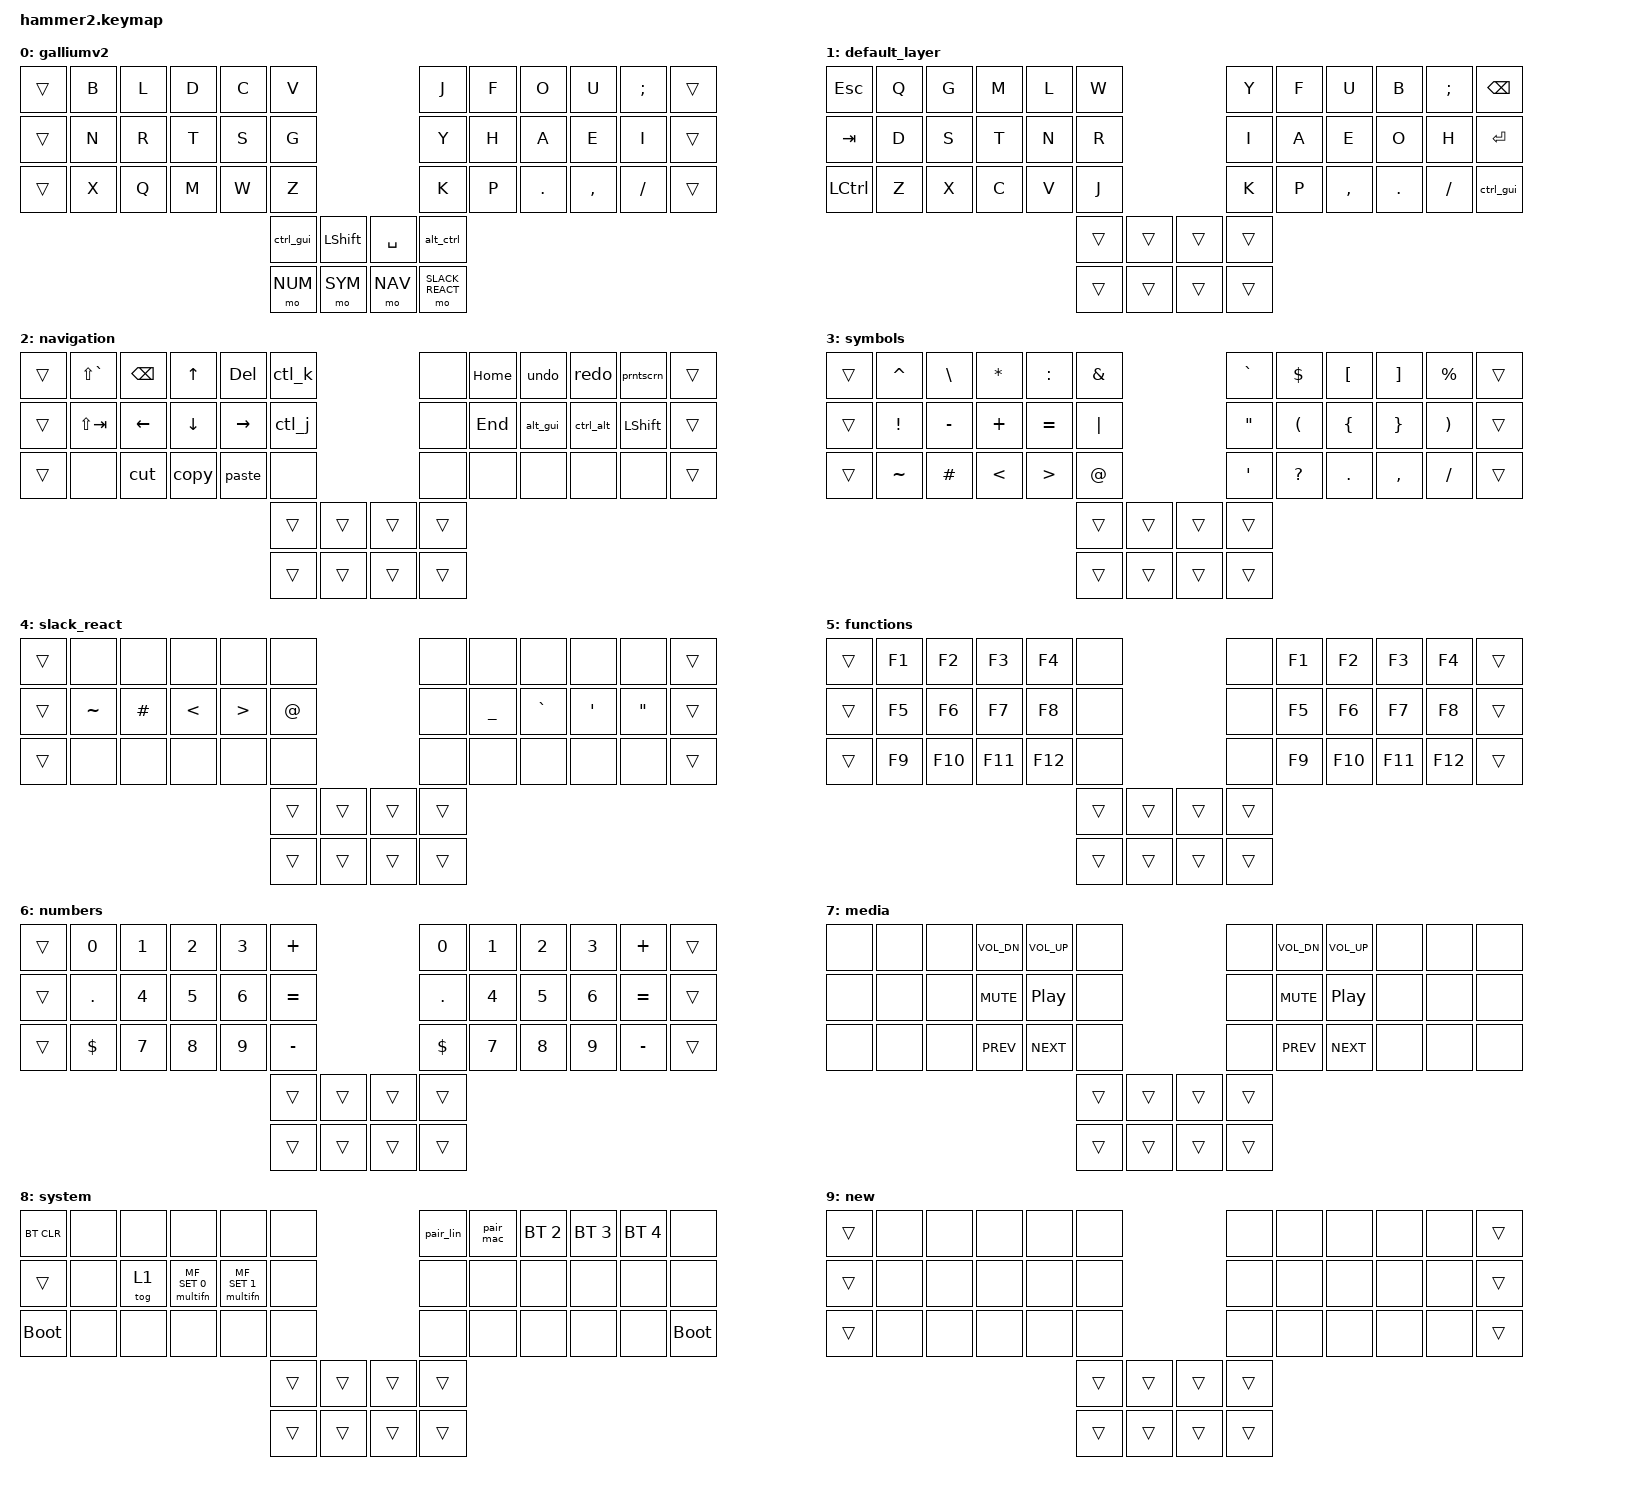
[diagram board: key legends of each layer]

#include <behaviors.dtsi>
#include <dt-bindings/zmk/keys.h>
#include <dt-bindings/zmk/bt.h>
#include <dt-bindings/zmk/multi_function.h>
#include <dt-bindings/zmk/reset.h>
#include <dt-bindings/zmk/ext_power.h>  

#define RIGHT_HAND_KEYS <6 7 8 9 10 11 18 19 20 21 22 23 30 31 32 33 34 35>
#define LEFT_HAND_KEYS <0 1 2 3 4 5 12 13 14 15 16 17 24 25 26 27 28 29>
#define HRM_TAPPING_TERM_MS 200
#define HRM_QUICK_TAP_MS 150

//Layers
#define NAV 2
#define SYM 3
#define SLACK_REACT 4
#define FUN 5
#define NUM 6
#define MEDIA 7
#define SYSTEM 8

/*
Thumb Key Guide

LTHUMB            RTHUMB
┌───┬───┐      ┌───┬───┐
│ 0 │ 1 │      │ 1 │ 0 │
├───┼───┤      ├───┼───┤
│ 2 │ 3 │      │ 3 │ 2 │
└───┴───┘      └───┴───┘
*/
#define LTHUMB0 36
#define LTHUMB1 37
#define RTHUMB1 38
#define RTHUMB0 39
#define LTHUMB2 40
#define LTHUMB3 41
#define RTHUMB3 42
#define RTHUMB2 43


/ {
     macros {
        pair_mac: pair_mac {
            compatible = "zmk,behavior-macro";
            #binding-cells = <0>;
            bindings = <&bt BT_SEL 1>, <&multifn MF_SET 1>;
        };
        pair_lin: pair_lin {
            compatible = "zmk,behavior-macro";
            #binding-cells = <0>;
            bindings = <&bt BT_SEL 0>, <&multifn MF_SET 0>;
        };

        ac_config: ac_config {
            compatible = "zmk,behavior-macro";
            #binding-cells = <0>;
            bindings = <&kp O &kp N &kp F &kp I &kp G &kp U &kp R &kp A &kp T &kp I &kp O &kp N>;
        };
        ac_query: ac_query {
            compatible = "zmk,behavior-macro";
            #binding-cells = <0>;
            bindings = <&kp U &kp E &kp R &kp Y>;
        };
        ac_object: ac_object {
            compatible = "zmk,behavior-macro";
            #binding-cells = <0>;
            bindings = <&kp B &kp J &kp E &kp C &kp T>;
        };
        ac_which: ac_which {
            compatible = "zmk,behavior-macro";
            #binding-cells = <0>;
            bindings = <&kp H &kp I &kp C &kp H>;
        };
    };

    behaviors {
        ctrl_gui: multi_function_ctrl_gui {
            compatible = "zmk,behavior-multi-function";
            #binding-cells = <0>;
            bindings = <&kp LCTL>, <&kp LGUI>;
        };
        ctrl_alt: multi_function_ctrl_alt {
            compatible = "zmk,behavior-multi-function";
            #binding-cells = <0>;
            bindings = <&kp LCTL>, <&kp LALT>;
        };
        alt_ctrl: multi_function_alt_ctrl {
            compatible = "zmk,behavior-multi-function";
            #binding-cells = <0>;
            bindings = <&kp LALT>, <&kp LCTL>;
        };
        alt_gui: multi_function_alt_gui {
            compatible = "zmk,behavior-multi-function";
            #binding-cells = <0>;
            bindings = <&kp LALT>, <&kp LGUI>;
        };
        gui_alt: multi_function_gui_alt {
            compatible = "zmk,behavior-multi-function";
            #binding-cells = <0>;
            bindings = <&kp LGUI>, <&kp LALT>;
        };


        ctl_k: multi_function_ctl_k {
            compatible = "zmk,behavior-multi-function";
            #binding-cells = <0>;
            bindings = <&kp LC(K)>, <&kp LA(K)>;
        };
        ctl_j: multi_function_ctl_j {
            compatible = "zmk,behavior-multi-function";
            #binding-cells = <0>;
            bindings = <&kp LC(J)>, <&kp LA(J)>;
        };
        undo: multi_function_undo {
            compatible = "zmk,behavior-multi-function";
            #binding-cells = <0>;
            bindings = <&kp LC(Z)>, <&kp LG(Z)>;
        };
        redo: multi_function_redo {
            compatible = "zmk,behavior-multi-function";
            #binding-cells = <0>;
            bindings = <&kp LC(Y)>, <&kp LG(Y)>;
        };
        cut: multi_function_cut {
            compatible = "zmk,behavior-multi-function";
            #binding-cells = <0>;
            bindings = <&kp LC(X)>, <&kp LG(X)>;
        };
        copy: multi_function_copy {
            compatible = "zmk,behavior-multi-function";
            #binding-cells = <0>;
            bindings = <&kp LC(C)>, <&kp LG(C)>;
        };
        paste: multi_function_paste {
            compatible = "zmk,behavior-multi-function";
            #binding-cells = <0>;
            bindings = <&kp LC(V)>, <&kp LG(V)>;
        };
        prntscrn: multi_function_print_screen {
            compatible = "zmk,behavior-multi-function";
            #binding-cells = <0>;
            bindings = <&kp PSCRN>, <&kp LC(LG(LS(N4)))>;
        };

        // magic: magic_key {
        //     compatible = "zmk,behavior-antecedent-morph";
        //     #binding-cells = <0>;
        //     defaults = <&kp R>;
        //     antecedents = <B L D C V N R T S G X Q M W Z J F O U Y H A E I K P>;
        //     bindings = 
        //                /*B*/<&kp R>,//
        //                /*L*/<&kp W>,//
        //                /*D*/<&kp G>,//
        //                /*C*/<&kp C>,//ac_config>,//
        //                /*V*/<&kp S>,//

        //                /*N*/<&kp G>,//
        //                /*R*/<&kp L>,//
        //                /*T*/<&kp T>,//
        //                /*S*/<&kp C>,//
        //                /*G*/<&kp N>,// alt: R


        //                /*X*/<&kp C>,//
        //                /*Q*/<&kp U>,//ac_query>,//alt: U, L
        //                /*M*/<&kp T>,//
        //                /*W*/<&kp W>,//ac_which>,//
        //                /*Z*/<&kp S>,//alt: L

        //                /*J*/<&kp I>,//alt: U
        //                /*F*/<&kp Y>,//alt: I
        //                /*O*/<&kp O>,//ac_object>,//
        //                /*U*/<&kp E>,//

        //                /*Y*/<&kp P>,//alt: I
        //                /*H*/<&kp Y>,//
        //                /*A*/<&kp O>,//
        //                /*E*/<&kp Y>,//alt: P
        //                /*I*/<&kp F>,//alt: P

        //                /*P*/<&kp H>,//
        //                /*K*/<&kp Y>//
        //                ;
        //     max-delay-ms = <250>;
        // };
    };

    combos {
        /*
        Thumb Key Guide
        
        LTHUMB            RTHUMB
        ┌───┬───┐      ┌───┬───┐
        │ 0 │ 1 │      │ 1 │ 0 │
        ├───┼───┤      ├───┼───┤
        │ 2 │ 3 │      │ 3 │ 2 │
        └───┴───┘      └───┴───┘
        */
        compatible = "zmk,combos";
        combo_functions_l {
            /*
            ┌───┬───┐      ┌───┬───┐
            │ X │   │      │   │   │
            ├───┼───┤      ├───┼───┤
            │ X │   │      │   │   │
            └───┴───┘      └───┴───┘
            */
            timeout-ms = <150>;
            key-positions = <LTHUMB0 LTHUMB2>;
            bindings = <&sl FUN>;
        };
        combo_functions_r {
            /*
            ┌───┬───┐      ┌───┬───┐
            │   │   │      │   │ X │
            ├───┼───┤      ├───┼───┤
            │   │   │      │   │ X │
            └───┴───┘      └───┴───┘
            */
            timeout-ms = <150>;
            key-positions = <RTHUMB0 RTHUMB2>;
            bindings = <&sl FUN>;
        };
        combo_media_r {
            /*
            ┌───┬───┐      ┌───┬───┐
            │   │   │      │   │   │
            ├───┼───┤      ├───┼───┤
            │   │   │      │ x │ x │
            └───┴───┘      └───┴───┘
            */
            timeout-ms = <100>;
            key-positions = <RTHUMB2 RTHUMB3>;
            bindings = <&mo MEDIA>;
        };
        combo_media_l {
            /*
            ┌───┬───┐      ┌───┬───┐
            │   │   │      │   │   │
            ├───┼───┤      ├───┼───┤
            │ x │ x │      │   │   │
            └───┴───┘      └───┴───┘
            */
            timeout-ms = <100>;
            key-positions = <LTHUMB2 LTHUMB3>;
            bindings = <&mo MEDIA>;
        };
        combo_system {
            /*
            ┌───┬───┐      ┌───┬───┐
            │ x │   │      │   │ x │
            ├───┼───┤      ├───┼───┤
            │ x │   │      │   │ x │
            └───┴───┘      └───┴───┘
            */
            timeout-ms = <150>;
            key-positions = <LTHUMB2 LTHUMB0 RTHUMB2 RTHUMB0>;
            bindings = <&sl SYSTEM>;
        };
    };

    keymap {
        compatible = "zmk,keymap";

         galliumv2 {
/*  QGMLWY
    Left Hand                                                     Right Hand
    ┌────────┬────────┬─────────┬────────┬────────┬────────┐      ┌────────┬────────┬────────┬────────┬────────┬────────┐
    │  ESC   │    B   │   L     │   D    │   C    │   V    │      │    J   │   F    │    O   │    U   │   ;    │ BKSPC  │
    ├────────┼────────┼─────────┼────────┼────────┼────────┤      ├────────┼────────┼────────┼────────┼────────┼────────┤
    │  TAB   │    N   │   R     │   T    │   S    │   G    │      │    Y   │   H    │    A   │    E   │   I    │ ENTER  │
    ├────────┼────────┼─────────┼────────┼────────┼────────┤      ├────────┼────────┼────────┼────────┼────────┼────────┤
    │Ctrl/Cmd│    X   │   Q     │   M    │   W    │   Z    │      │    K   │   P    │    .   │    ,   │   / ?  │Ctrl/Cmd│
    └────────┴────────┴─────────┴────────┴────────┴────────┘      └────────┴────────┴────────┴────────┴────────┴────────┘

 */
                        bindings = <
&trans   &kp B  &kp L  &kp D  &kp C   &kp V                                             &kp J  &kp F   &kp O    &kp U      &kp SEMI   &trans
&trans   &kp N  &kp R  &kp T  &kp S   &kp G                                             &kp Y  &kp H   &kp A    &kp E      &kp I      &trans
&trans   &kp X  &kp Q  &kp M  &kp W   &kp Z                                             &kp K  &kp P   &kp DOT  &kp COMMA  &kp SLASH  &trans
                                            &ctrl_gui &kp LSHIFT  &kp SPACE  &alt_ctrl
                                            &mo NUM   &mo SYM     &mo NAV    &mo SLACK_REACT
            >;
        };
        
         default_layer {
/*  QGMLWY
    Left Hand                                                     Right Hand
    ┌────────┬────────┬─────────┬────────┬────────┬────────┐      ┌────────┬────────┬────────┬────────┬────────┬────────┐
    │  ESC   │    Q   │   G     │   M    │   L    │   W    │      │    Y   │   F    │   U    │    B   │   ;    │ BKSPC  │
    ├────────┼────────┼─────────┼────────┼────────┼────────┤      ├────────┼────────┼────────┼────────┼────────┼────────┤
    │  TAB   │    D   │   S     │   T    │   N    │   R    │      │    I   │   A    │   E    │    O   │   H    │ ENTER  │
    ├────────┼────────┼─────────┼────────┼────────┼────────┤      ├────────┼────────┼────────┼────────┼────────┼────────┤
    │Ctrl/Cmd│    Z   │   X     │   C    │   V    │   J    │      │    K   │   P    │   , <  │  . >   │   / ?  │Ctrl/Cmd│
    └────────┴────────┴─────────┴────────┴────────┴────────┘      └────────┴────────┴────────┴────────┴────────┴────────┘

 */
                        bindings = <
&kp  ESC  &kp Q  &kp G  &kp M  &kp L  &kp W                                           &kp Y  &kp F  &kp U      &kp B    &kp SEMI   &kp BSPC
&kp  TAB  &kp D  &kp S  &kp T  &kp N  &kp R                                           &kp I  &kp A  &kp E      &kp O    &kp H      &kp ENTER
&kp LCTL  &kp Z  &kp X  &kp C  &kp V  &kp J                                           &kp K  &kp P  &kp COMMA  &kp DOT  &kp SLASH  &ctrl_gui
                                            &trans     &trans        &trans     &trans
                                            &trans     &trans        &trans     &trans
            >;
        };

        navigation {
/*
/* Navigation
    ┌────────┬─────────┬─────────┬─────────┬─────────┬─────────┐      ┌────────┬─────────┬─────────┬─────────┬─────────┬────────┐
    │        │ shift+` │backspace│   UP    │   DEL   │ctl/alt+K│      │        │   HOME  │   undo  │   redo  │scrnshot │        │
    ├────────┼─────────┼─────────┼─────────┼─────────┼─────────┤      ├────────┼─────────┼─────────┼─────────┼─────────┼────────┤
    │        |shift+tab│   left  │  down   │  right  │ctl/alt+J│      │        │   END   │ alt/cmd │ctrl/alt │  shift  │        │
    ├────────┼─────────┼─────────┼─────────┼─────────┼─────────┤      ├────────┼─────────┼─────────┼─────────┼─────────┼────────┤
    │        │         │   CUT   │  COPY   │  PASTE  │         │      │        │         │         │         │         │        │
    └────────┴─────────┴─────────┴─────────┴─────────┴─────────┘      └────────┴─────────┴─────────┴─────────┴─────────┴────────┘

 */
                        bindings = <
&trans   &kp LS(GRAVE)  &kp BSPC     &kp UP     &kp DEL    &ctl_k                                         &none   &kp HOME &undo      &redo      &prntscrn  &trans
&trans   &kp  LS(TAB)   &kp LEFT     &kp DOWN   &kp RIGHT  &ctl_j                                         &none   &kp END  &alt_gui   &ctrl_alt  &kp LSHIFT &trans
&trans   &none          &cut         &copy      &paste     &none                                          &none   &none    &none      &none      &none      &trans
                                                                    &trans  &trans        &trans  &trans
                                                                    &trans  &trans        &trans  &trans
            >;
        };



        symbols {
/*
    Left Hand                                                     Right Hand
    ┌────────┬────────┬─────────┬────────┬────────┬────────┐      ┌────────┬────────┬────────┬────────┬────────┬────────┐
    │        │    ^   │   \     │   *    │   :    │   &    │      │    `   │   $    │   [    │    ]   │   %    │        │
    ├────────┼────────┼─────────┼────────┼────────┼────────┤      ├────────┼────────┼────────┼────────┼────────┼────────┤
    │        │    !   │   -     │   +    │   =    │   |    │      │    "   │   (    │   {    │    }   │   )    │        │
    ├────────┼────────┼─────────┼────────┼────────┼────────┤      ├────────┼────────┼────────┼────────┼────────┼────────┤
    │        │    ~   │   #     │   <    │   >    │   @    │      │    '   │   ?    │    .   │    ,   │   /    │        │
    └────────┴────────┴─────────┴────────┴────────┴────────┘      └────────┴────────┴────────┴────────┴────────┴────────┘
 */
                        bindings = <
&trans         &kp CARET  &kp BSLH   &kp ASTRK  &kp COLON  &kp AMPS                                      &kp GRAVE  &kp DOLLAR  &kp LBKT  &kp RBKT   &kp PERCENT   &trans
&trans         &kp EXCL   &kp MINUS  &kp PLUS   &kp EQUAL  &kp PIPE                                      &kp DQT    &kp LPAR    &kp LBRC  &kp RBRC   &kp RPAR      &trans
&trans         &kp TILDE  &kp POUND  &kp LT     &kp GT     &kp AT                                        &kp QUOT   &kp QMARK   &kp DOT   &kp COMMA  &kp SLASH     &trans
                                                                     &trans  &trans     &trans  &trans
                                                                     &trans  &trans     &trans  &trans
            >;
        };

        slack_react {
/*
    Left Hand                                                     Right Hand
    ┌────────┬────────┬─────────┬────────┬────────┬────────┐      ┌────────┬────────┬────────┬────────┬────────┬────────┐
    │        │        │         │        │        │        │      │        │        │        │        │        │        │
    ├────────┼────────┼─────────┼────────┼────────┼────────┤      ├────────┼────────┼────────┼────────┼────────┼────────┤
    │        │    ~   │    #    │    <   │    >   │   @    │      │        │   _    │   `    │    '   │   "    │        │
    ├────────┼────────┼─────────┼────────┼────────┼────────┤      ├────────┼────────┼────────┼────────┼────────┼────────┤
    │        │        │         │        │        │        │      │        │        │        │        │        │        │
    └────────┴────────┴─────────┴────────┴────────┴────────┘      └────────┴────────┴────────┴────────┴────────┴────────┘
 */
                        bindings = <
&trans         &none       &none      &none      &none     &none                                    &none  &none       &none     &none      &none     &trans
&trans         &kp TILDE   &kp POUND  &kp LT     &kp GT    &kp AT                                   &none  &kp UNDER   &kp GRAVE &kp QUOT   &kp DQT   &trans
&trans         &none       &none      &none      &none     &none                                    &none  &none       &none     &none      &none     &trans
                                                                   &trans  &trans      &trans  &trans
                                                                   &trans  &trans      &trans  &trans
            >;
        };

        functions {
/*
    Left Hand                                                     Right Hand
    ┌────────┬────────┬────────┬────────┬────────┬────────┐      ┌────────┬────────┬────────┬────────┬────────┬────────┐
    │        │   F1   │   F2   │   F3   │   F4   │ XXXXXX │      │ XXXXXX │   F1   │   F2   │   F3   │   F4   │        │
    ├────────┼────────┼────────┼────────┼────────┼────────┤      ├────────┼────────┼────────┼────────┼────────┼────────┤
    │        │   F5   │   F6   │   F7   │   F8   │ XXXXXX │      │ XXXXXX │   F5   │   F6   │   F7   │   F8   │        │
    ├────────┼────────┼────────┼────────┼────────┼────────┤      ├────────┼────────┼────────┼────────┼────────┼────────┤
    │        │   F9   │   F10  │   F11  │   F12  │ XXXXXX │      │ XXXXXX │   F9   │   F10  │   F11  │   F12  │        │
    └────────┴────────┴────────┴────────┴────────┴────────┘      └────────┴────────┴────────┴────────┴────────┴────────┘
 */
                        bindings = <
&trans    &kp F1   &kp F2    &kp F3   &kp F4   &none                                          &none        &kp F1  &kp F2   &kp F3    &kp F4   &trans
&trans    &kp F5   &kp F6    &kp F7   &kp F8   &none                                          &none        &kp F5  &kp F6   &kp F7    &kp F8   &trans
&trans    &kp F9   &kp F10   &kp F11  &kp F12  &none                                          &none        &kp F9  &kp F10  &kp F11   &kp F12  &trans
                                                     &trans  &trans            &trans  &trans
                                                     &trans  &trans            &trans  &trans
            >;
        };

        numbers {
/*
    Left Hand                                                     Right Hand
    ┌────────┬────────┬─────────┬────────┬────────┬────────┐      ┌────────┬────────┬────────┬────────┬────────┬────────┐
    │        │    0   │    1    │   2    │    3   │   +    │      │   0    │   1    │   2    │   3    │   +    │        │
    ├────────┼────────┼─────────┼────────┼────────┼────────┤      ├────────┼────────┼────────┼────────┼────────┤────────┤
    │        │    .   │    4    │   5    │    6   │   =    │      │   .    │   4    │   5    │   6    │   =    │        │
    ├────────┼────────┼─────────┼────────┼────────┼────────┤      ├────────┼────────┼────────┼────────┼────────┤────────┤
    │        │    $   │    7    │   8    │    9   │   -    │      │   $    │   7    │   8    │   9    │   -    │        │
    └────────┴────────┴─────────┴────────┴────────┴────────┘      └────────┴────────┴────────┴────────┴────────┴────────┘

 */
                        bindings = <
&trans        &kp N0      &kp  N1  &kp N2  &kp N3  &kp PLUS                                  &kp N0      &kp N1  &kp N2  &kp N3  &kp PLUS   &trans
&trans        &kp DOT     &kp  N4  &kp N5  &kp N6  &kp EQUAL                                 &kp DOT     &kp N4  &kp N5  &kp N6  &kp EQUAL  &trans
&trans        &kp DOLLAR  &kp  N7  &kp N8  &kp N9  &kp MINUS                                 &kp DOLLAR  &kp N7  &kp N8  &kp N9  &kp MINUS  &trans
                                                             &trans  &trans   &trans  &trans
                                                             &trans  &trans   &trans  &trans
            >;
        };

        media {
/*
    Left Hand                                                     Right Hand
    ┌────────┬────────┬─────────┬────────┬────────┬────────┐      ┌────────┬────────┬────────┬────────┬────────┬────────┐
    │ VOL-   │  VOL+  │ XXXXXXX │ XXXXXX │ XXXXXX │ XXXXXX │      │ XXXXXX │ XXXXXX │ XXXXXX │ XXXXXX │ VOL-   │  VOL+  │
    ├────────┼────────┼─────────┼────────┼────────┼────────┤      ├────────┼────────┼────────┼────────┼────────┼────────┤
    │  MUTE  │   > || │ XXXXXXX │ XXXXXX │ XXXXXX │ XXXXXX │      │ XXXXXX │ XXXXXX │ XXXXXX │ XXXXXX │  MUTE  │   > || │
    ├────────┼────────┼─────────┼────────┼────────┼────────┤      ├────────┼────────┼────────┼────────┼────────┼────────┤
    │  <<    │  >>    │ XXXXXXX │ XXXXXX │ XXXXXX │ XXXXXX │      │ XXXXXX │ XXXXXX │ XXXXXX │ XXXXXX │  <<    │  >>    │
    └────────┴────────┴─────────┴────────┴────────┴────────┘      └────────┴────────┴────────┴────────┴────────┴────────┘
 */
                        bindings = <
&none   &none   &none   &kp C_VOL_DN  &kp C_VOL_UP  &none                                          &none  &kp C_VOL_DN  &kp C_VOL_UP  &none   &none   &none
&none   &none   &none   &kp C_MUTE    &kp C_PP      &none                                          &none  &kp C_MUTE    &kp C_PP      &none   &none   &none
&none   &none   &none   &kp C_PREV    &kp C_NEXT    &none                                          &none  &kp C_PREV    &kp C_NEXT    &none   &none   &none
                                                         &trans  &trans            &trans  &trans
                                                         &trans  &trans            &trans  &trans
            >;
        };

        system {
/*
    Left Hand                                                     Right Hand
    ┌────────┬────────┬─────────┬────────┬────────┬────────┐      ┌────────┬────────┬────────┬────────┬────────┬────────┐
    │ BT CLR │ XXXXXX │ XXXXXXX │ XXXXXX │ XXXXXX │ XXXXXX │      │  BT 1  │  BT 2  │  BT 3  │  BT 4  │  BT 5  │ XXXXXX │
    ├────────┼────────┼─────────┼────────┼────────┼────────┤      ├────────┼────────┼────────┼────────┼────────┼────────┤
    │ XXXXXX │ XXXXXX │TOG BASE │ win/lin│  osx   │ XXXXXX │      │ XXXXXX │ XXXXXX │ XXXXXX │ XXXXXX │ XXXXXX │ XXXXXX │
    ├────────┼────────┼─────────┼────────┼────────┼────────┤      ├────────┼────────┼────────┼────────┼────────┼────────┤
    │ FLASH  │ XXXXXX │ XXXXXXX │ XXXXXX │ XXXXXX │ XXXXXX │      │ XXXXXX │ XXXXXX │ XXXXXX │ XXXXXX │ XXXXXX │ FLASH  │
    └────────┴────────┴─────────┴────────┴────────┴────────┘      └────────┴────────┴────────┴────────┴────────┴────────┘
 */
                        bindings = <
&bt BT_CLR  &none        &none    &none             &none              &none                                            &pair_lin    &pair_mac    &bt BT_SEL 2 &bt BT_SEL 3   &bt BT_SEL 4    &none
&trans      &none        &tog 1   &multifn MF_SET 0 &multifn MF_SET 1  &none                                            &none        &none        &none        &none          &none           &none
&bootloader &none        &none    &none             &none              &none                                            &none        &none        &none        &none          &none           &bootloader
                                                                              &trans  &trans            &trans  &trans
                                                                              &trans  &trans            &trans  &trans
            >;
        };

        new {
/*  
    Left Hand                                                     Right Hand
    ┌────────┬────────┬─────────┬────────┬────────┬────────┐      ┌────────┬────────┬────────┬────────┬────────┬────────┐
    │        │        │         │        │        │        │      │        │        │        │        │        │        │
    ├────────┼────────┼─────────┼────────┼────────┼────────┤      ├────────┼────────┼────────┼────────┼────────┼────────┤
    │        │        │         │        │        │        │      │        │        │        │        │        │        │
    ├────────┼────────┼─────────┼────────┼────────┼────────┤      ├────────┼────────┼────────┼────────┼────────┼────────┤
    │        │        │         │        │        │        │      │        │        │        │        │        │        │
    └────────┴────────┴─────────┴────────┴────────┴────────┘      └────────┴────────┴────────┴────────┴────────┴────────┘
 */
                        bindings = <
&trans         &none       &none           &none            &none        &none                                                 &none        &none        &none       &none       &none      &trans
&trans         &none       &none           &none            &none        &none                                                 &none        &none        &none       &none       &none      &trans
&trans         &none       &none           &none            &none        &none                                                 &none        &none        &none       &none       &none      &trans
                                                                                &trans  &trans            &trans  &trans
                                                                                &trans  &trans            &trans  &trans
            >;
        };
    };
};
